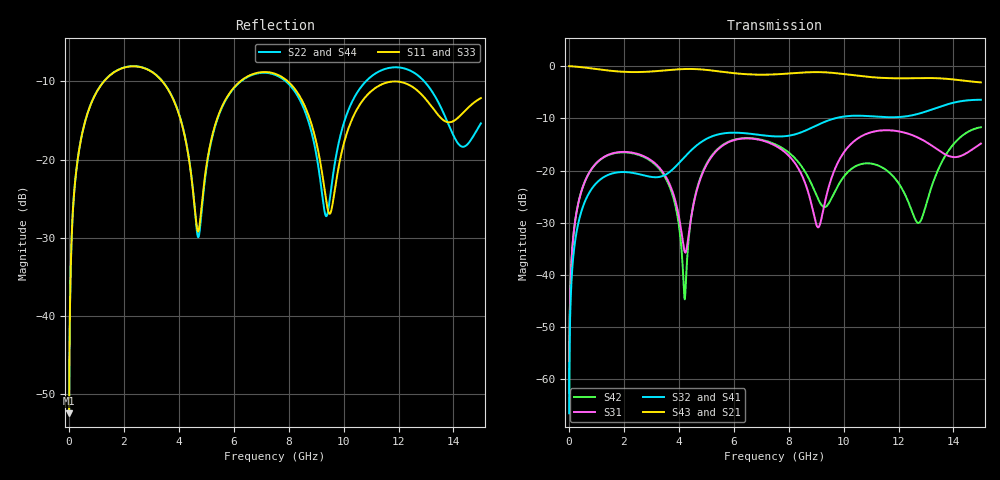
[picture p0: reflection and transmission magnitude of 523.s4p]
! Created with skrf 1.8.0 (http://scikit-rf.org).
# GHz S RI R 50.0
!freq ReS11 ImS11 ReS12 ImS12 ReS13 ImS13
! ReS14 ImS14
! ReS21 ImS21 ReS22 ImS22 ReS23 ImS23
! ReS24 ImS24
! ReS31 ImS31 ReS32 ImS32 ReS33 ImS33
! ReS34 ImS34
! ReS41 ImS41 ReS42 ImS42 ReS43 ImS43
! ReS44 ImS44
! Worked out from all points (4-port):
!   2499 points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, 5 MHz to 15 GHz, reference 50 ohm
!   strongest paths, dB at 5 MHz, 3.476 GHz, 7.19 GHz, 11.1 GHz, 15 GHz:
!     S43: 0.0, -0.8, -1.6, -2.2, -3.1
!     S21: 0.0, -0.8, -1.6, -2.1, -3.1
!     S32: -66.5, -20.9, -13.3, -9.6, -6.5
!     S41: -66.5, -20.9, -13.4, -9.7, -6.5
!     S31: -62.6, -20.8, -14.5, -12.5, -14.8
!     S42: -62.6, -21.1, -14.4, -18.8, -11.7
!   lowest |S11| = -52.4 dB at 5 MHz (marker M1), VSWR 1.00, Z = 50.2 + j0.146 ohm
!   |S11| at or under -10 dB: start of sweep to 1.272 GHz; 3.401 GHz to 6.237 GHz (2.836 GHz wide, 58.8 % of centre); 7.971 GHz to end of sweep
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0.005  0.00191 0.00145  0.9981 -0.00371  9.59e-05 0.000736  -9.32e-05 -0.000465
       0.9981 -0.00371  0.00191 0.00145  -9.32e-05 -0.000465  9.59e-05 0.000736
       9.59e-05 0.000736  -9.32e-05 -0.000465  0.00191 0.00145  0.9981 -0.00371
       -9.32e-05 -0.000465  9.59e-05 0.000736  0.9981 -0.00371  0.00191 0.00145
0.3626511  0.039 0.1067  0.946 -0.2631  0.0186 0.0484  -0.0153 -0.0296
           0.946 -0.2631  0.0391 0.1067  -0.0153 -0.0296  0.0182 0.0485
           0.0186 0.0484  -0.0153 -0.0296  0.039 0.1067  0.946 -0.2631
           -0.0153 -0.0296  0.0182 0.0485  0.946 -0.2631  0.0391 0.1067
1.725719  0.3466 0.1274  0.3507 -0.8193  0.1467 0.0256  -0.0921 0.0252
          0.3507 -0.8193  0.3475 0.1263  -0.0922 0.0255  0.1444 0.0309
          0.1467 0.0256  -0.0922 0.0255  0.3465 0.1275  0.3506 -0.8194
          -0.0921 0.0252  0.1444 0.0309  0.3506 -0.8194  0.3476 0.1262
4.214256  0.0735 -0.1213  -0.8586 -0.3756  -0.0154 -0.00651  -0.0512 0.1251
          -0.8586 -0.3756  0.0712 -0.1241  -0.0493 0.1259  -0.00568 -0.0014
          -0.0154 -0.00651  -0.0493 0.1259  0.0738 -0.1215  -0.8586 -0.3756
          -0.0512 0.1251  -0.00568 -0.0014  -0.8586 -0.3756  0.0711 -0.1245
5.677366  0.1806 0.1542  -0.7235 0.4925  0.1464 0.1031  0.164 0.1571
          -0.7235 0.4925  0.1778 0.1537  0.1668 0.1552  0.1504 0.1009
          0.1464 0.1031  0.1668 0.1552  0.1793 0.1539  -0.7235 0.4926
          0.164 0.1571  0.1504 0.1009  -0.7235 0.4926  0.1787 0.1533
9.516465  0.0453 0.00303  0.8612 0.0818  0.0652 0.0431  0.0234 -0.3054
          0.8612 0.0818  0.0469 0.0361  0.013 -0.3061  -0.0318 0.0405
          0.0652 0.0431  0.013 -0.3061  0.049 0.00561  0.8612 0.0801
          0.0234 -0.3054  -0.0318 0.0405  0.8612 0.0801  0.0419 0.0388
15  0.2438 0.0421  -0.6705 0.1944  0.1189 0.1367  0.1717 0.4422
    -0.6705 0.1944  0.163 0.0502  0.1915 0.4354  0.1557 0.2081
    0.1189 0.1367  0.1915 0.4354  0.2418 0.0346  -0.6702 0.1953
    0.1717 0.4422  0.1557 0.2081  -0.6702 0.1953  0.1659 0.054
